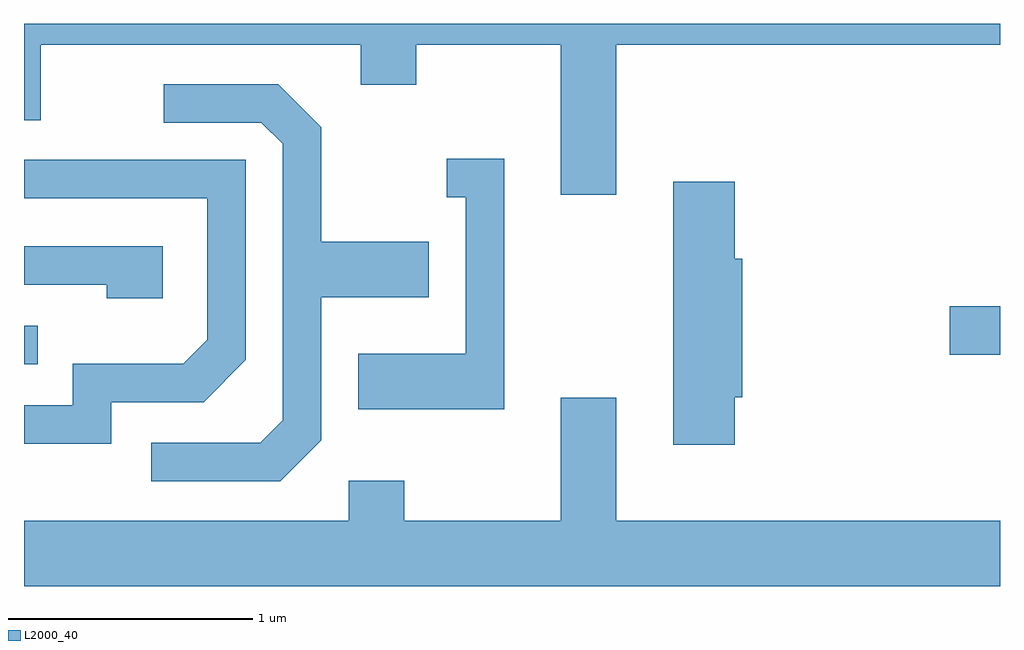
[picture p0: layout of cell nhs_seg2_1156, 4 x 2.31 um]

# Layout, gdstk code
import gdstk
lib = gdstk.Library(unit=1e-6, precision=1e-09)
def R(c, l, rs):  # rectangles x0, y0, x1, y1
    for r in rs: c.add(gdstk.rectangle(r[:2], r[2:], *l))
def P(c, l, *ps):  # polygons
    for p in ps: c.add(gdstk.Polygon(p, *l))
L2000_40 = (2000, 40)

nhs_seg2_1156 = lib.new_cell('nhs_seg2_1156')
R(nhs_seg2_1156, L2000_40, [(219.611,980.406,219.668,980.564), (223.406,980.446,223.611,980.644)])
P(nhs_seg2_1156, L2000_40, [(222.039,981.716),(223.611,981.716),(223.611,981.802),(219.611,981.802),(219.611,981.406),(219.679,981.406),(219.679,981.716),(220.991,981.716),(220.991,981.551),(221.219,981.551),(221.219,981.716),(221.811,981.716),(221.811,981.101),(222.039,981.101)],
  [(220.829,980.094),(220.829,980.681),(221.269,980.681),(221.269,980.909),(220.829,980.909),(220.829,981.377),(220.652,981.554),(220.183,981.554),(220.183,981.396),(220.584,981.396),(220.671,981.309),(220.671,980.177),(220.579,980.084),(220.133,980.084),(220.133,979.926),(220.662,979.926)],
  [(221.579,981.249),(221.343,981.249),(221.343,981.091),(221.421,981.091),(221.421,980.449),(220.981,980.449),(220.981,980.221),(221.579,980.221)],
  [(219.969,980.251),(220.347,980.251),(220.519,980.424),(220.519,981.244),(219.611,981.244),(219.611,981.086),(220.361,981.086),(220.361,980.507),(220.264,980.409),(219.811,980.409),(219.811,980.239),(219.611,980.239),(219.611,980.081),(219.969,980.081)],
  [(222.524,980.271),(222.554,980.271),(222.554,980.839),(222.524,980.839),(222.524,981.154),(222.271,981.154),(222.271,980.076),(222.524,980.076)],
  [(220.179,980.889),(219.611,980.889),(219.611,980.731),(219.951,980.731),(219.951,980.676),(220.179,980.676)],
  [(223.611,979.764),(222.039,979.764),(222.039,980.269),(221.811,980.269),(221.811,979.764),(221.169,979.764),(221.169,979.929),(220.941,979.929),(220.941,979.764),(219.611,979.764),(219.611,979.496),(223.611,979.496)])

lib.write_gds('nhs_seg2_1156.gds')
